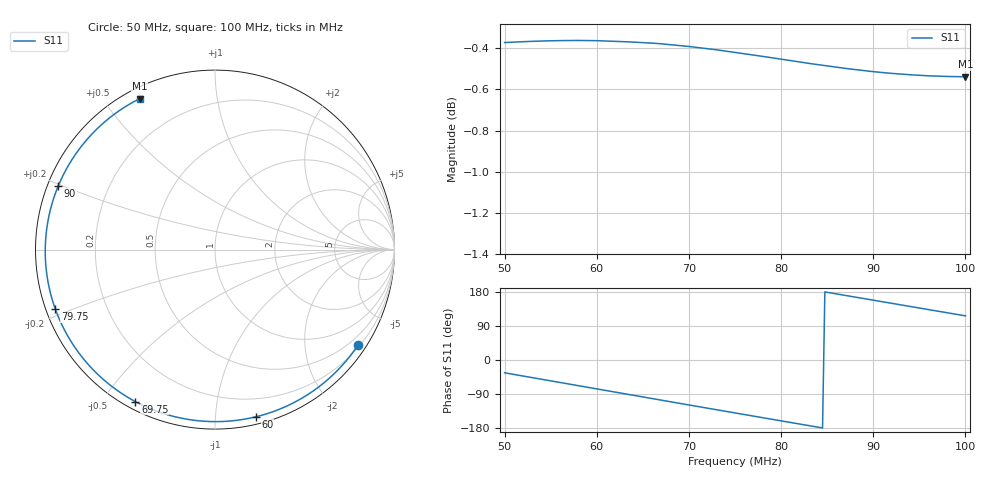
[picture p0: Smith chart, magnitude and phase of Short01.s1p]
!Agilent Technologies,E5072A,MY51200456,A.01.06
!Date: Tue Sep 01 19:46:50 2015
!Data & Calibration Information:
!Freq	S11:SOLT1(ON)
!PortZ  Port1:50+j0
!Above PortZ is port z conversion or system Z0 setting when saving the data.
!When reading, reference impedance value at option line is always used.
# Hz S dB R 50
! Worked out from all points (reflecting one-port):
!   201 points, 50 MHz to 100 MHz, reference 50 ohm
!   lowest |S11| = -0.5 dB at 100 MHz (marker M1), VSWR 32.26, Z = 2.14 + j30.9 ohm
!   phase of S11 starts at -34 deg and turns -210 deg over the sweep
!   S11 on the Smith chart (normalised r, x): 50 MHz: 0.25, -3.27; 60 MHz: 0.05, -1.27; 69.75 MHz: 0.03, -0.61; 79.75 MHz: 0.03, -0.18; 90 MHz: 0.03, +0.20; 100 MHz: 0.04, +0.62
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5e7  -0.37 -33.8
5.15e7  -0.37 -40.2
5.325e7  -0.37 -47.6
5.475e7  -0.36 -54.0
5.625e7  -0.36 -60.4
5.825e7  -0.36 -68.9
6e7  -0.36 -76.3
6.25e7  -0.37 -86.9
6.4e7  -0.37 -93.3
6.55e7  -0.37 -99.7
6.7e7  -0.38 -106.0
6.875e7  -0.39 -113.4
6.975e7  -0.39 -117.6
7.225e7  -0.40 -128.1
7.5e7  -0.42 -139.7
7.75e7  -0.44 -150.2
7.975e7  -0.45 -159.6
8.125e7  -0.46 -165.8
8.275e7  -0.47 -172.1
8.425e7  -0.48 -178.3
8.6e7  -0.49 174.4
8.75e7  -0.50 168.2
9e7  -0.51 157.9
9.175e7  -0.52 150.6
9.375e7  -0.53 142.4
9.7e7  -0.54 128.9
9.85e7  -0.54 122.7
1e8  -0.54 116.5
